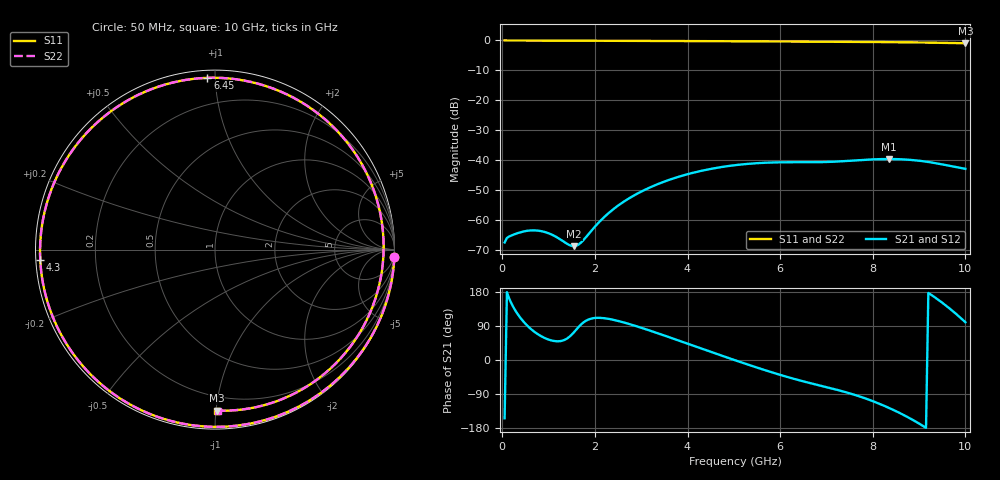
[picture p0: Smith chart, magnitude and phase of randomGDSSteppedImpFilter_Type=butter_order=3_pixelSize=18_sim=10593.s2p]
! freq	dB(S11)	phase(S11)	dB(S12)	phase(S12)
!  dB(S21)	phase(S21)	dB(S22)	phase(S22)
!S-par simulation data
#  GHz  S  DB  R 50
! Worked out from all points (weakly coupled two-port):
!   200 points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, 50 MHz to 10 GHz, reference 50 ohm
!   highest |S21| = -39.59 dB at 8.35 GHz (marker M1); lowest = -68.7 dB at 1.55 GHz (marker M2)
!   lowest |S11| = -0.9 dB at 10 GHz (marker M3), VSWR 18.40, Z = 5.49 - j50.3 ohm
!   |S11| at or under -10 dB: nowhere
!   |S22| runs from -0.9 to 0.0 dB; largest |S21 - S12| = 0
!   S11 on the Smith chart (normalised r, x): 50 MHz: 0, -49; 4.3 GHz: 0.01, -0.03; 6.45 GHz: 0.04, +0.96; 10 GHz: 0.11, -1.01
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0.05  -0.00 -2.3  -67.45 -153.7  -67.45 -153.7  -0.00 -2.3
0.2  -0.00 -9.3  -65.09 148.6  -65.09 148.6  -0.00 -9.3
0.7  -0.03 -32.3  -63.42 73.8  -63.42 73.8  -0.03 -32.3
1  -0.06 -45.8  -64.38 53.8  -64.38 53.8  -0.06 -45.8
1.55  -0.09 -69.7  -68.69 73.6  -68.69 73.6  -0.09 -69.7
1.75  -0.10 -78.1  -66.70 98.9  -66.70 98.9  -0.10 -78.1
2.45  -0.13 -106.4  -55.72 104.6  -55.72 104.6  -0.13 -106.4
3.4  -0.17 -142.8  -47.70 68.8  -47.70 68.8  -0.17 -142.7
3.85  -0.19 -159.6  -45.32 49.6  -45.32 49.6  -0.19 -159.5
4.3  -0.22 -176.5  -43.53 30.2  -43.53 30.2  -0.22 -176.5
5.05  -0.27 154.2  -41.60 -1.6  -41.60 -1.6  -0.27 154.3
5.85  -0.33 120.4  -40.73 -33.7  -40.73 -33.7  -0.33 120.5
6.45  -0.37 92.5  -40.66 -54.8  -40.66 -54.8  -0.37 92.7
6.7  -0.39 80.2  -40.66 -62.6  -40.66 -62.6  -0.39 80.4
7.15  -0.43 57.2  -40.49 -76.2  -40.49 -76.2  -0.43 57.4
7.6  -0.47 33.3  -40.07 -91.6  -40.07 -91.6  -0.47 33.5
8  -0.51 11.8  -39.71 -108.6  -39.71 -108.6  -0.51 12.0
8.35  -0.56 -7.0  -39.59 -126.5  -39.59 -126.5  -0.56 -6.7
8.75  -0.62 -28.0  -39.80 -150.5  -39.80 -150.5  -0.62 -27.8
9.2  -0.71 -50.9  -40.58 177.0  -40.58 177.0  -0.71 -50.6
9.6  -0.82 -70.4  -41.69 141.7  -41.69 141.7  -0.81 -70.2
10  -0.95 -89.3  -42.87 99.7  -42.87 99.7  -0.94 -89.0
